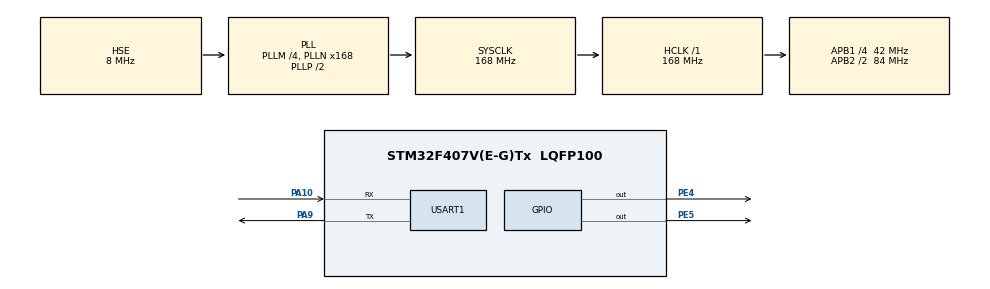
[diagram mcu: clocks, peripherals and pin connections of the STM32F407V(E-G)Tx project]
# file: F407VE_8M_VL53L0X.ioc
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Mcu.Family=STM32F4
Mcu.Name=STM32F407V(E-G)Tx
Mcu.Package=LQFP100
NVIC.PriorityGroup=NVIC_PRIORITYGROUP_4
NVIC.USART1_IRQn=true\:0\:0\:false\:false\:true\:true\:true
PA10.Mode=Asynchronous
PA10.Signal=USART1_RX
PA13.Mode=Serial_Wire
PA13.Signal=SYS_JTMS-SWDIO
PA14.Mode=Serial_Wire
PA14.Signal=SYS_JTCK-SWCLK
PA9.Mode=Asynchronous
PA9.Signal=USART1_TX
PC14-OSC32_IN.Mode=LSE-External-Oscillator
PC14-OSC32_IN.Signal=RCC_OSC32_IN
PC15-OSC32_OUT.Mode=LSE-External-Oscillator
PC15-OSC32_OUT.Signal=RCC_OSC32_OUT
PE4.GPIO_ModeDefaultOutputPP=GPIO_MODE_OUTPUT_PP
PE4.GPIO_PuPd=GPIO_PULLUP
PE4.GPIO_Speed=GPIO_SPEED_FREQ_VERY_HIGH
PE4.PinState=GPIO_PIN_SET
PE4.Signal=GPIO_Output
PE5.GPIO_ModeDefaultOutputPP=GPIO_MODE_OUTPUT_PP
PE5.GPIO_PuPd=GPIO_PULLUP
PE5.GPIO_Speed=GPIO_SPEED_FREQ_VERY_HIGH
PE5.PinState=GPIO_PIN_SET
PE5.Signal=GPIO_Output
PH0-OSC_IN.Mode=HSE-External-Oscillator
PH0-OSC_IN.Signal=RCC_OSC_IN
PH1-OSC_OUT.Mode=HSE-External-Oscillator
PH1-OSC_OUT.Signal=RCC_OSC_OUT
ProjectManager.HeapSize=0x200
ProjectManager.StackSize=0x400
ProjectManager.TargetToolchain=MDK-ARM V5.27
RCC.48MHZClocksFreq_Value=84000000
RCC.AHBFreq_Value=168000000
RCC.APB1CLKDivider=RCC_HCLK_DIV4
RCC.APB1Freq_Value=42000000
RCC.APB1TimFreq_Value=84000000
RCC.APB2CLKDivider=RCC_HCLK_DIV2
RCC.APB2Freq_Value=84000000
RCC.APB2TimFreq_Value=168000000
RCC.CortexFreq_Value=168000000
RCC.HCLKFreq_Value=168000000
RCC.HSE_VALUE=8000000
RCC.HSI_VALUE=16000000
RCC.PLLM=4
RCC.PLLN=168
RCC.PLLSourceVirtual=RCC_PLLSOURCE_HSE
RCC.SYSCLKFreq_VALUE=168000000
RCC.SYSCLKSource=RCC_SYSCLKSOURCE_PLLCLK
RCC.VCOOutputFreq_Value=336000000
USART1.VirtualMode=VM_ASYNC
board=custom

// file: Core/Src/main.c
/* USER CODE BEGIN Header */
/**
  ******************************************************************************
  * @file           : main.c
  * @brief          : Main program body
  ******************************************************************************
  * @attention
  *
  * <h2><center>&copy; Copyright (c) 2021 STMicroelectronics.
  * All rights reserved.</center></h2>
  *
  * This software component is licensed by ST under BSD 3-Clause license,
  * the "License"; You may not use this file except in compliance with the
  * License. You may obtain a copy of the License at:
  *                        opensource.org/licenses/BSD-3-Clause
  *
  ******************************************************************************
  */
/* USER CODE END Header */
#include "main.h"
#include "usart.h"
#include "gpio.h"

/* USER CODE BEGIN Includes */
#include "DELAY/delay.h"
#include "USART/myusart1.h"
#include "VL53L0X/myvl53L0x.h"
#include "UTIL/util.h"
/* USER CODE END Includes */

void SystemClock_Config(void);

int main(void)
{
  /* USER CODE BEGIN 1 */
  char str[32];
  int32_t val;
  /* USER CODE END 1 */

  /* MCU Configuration--------------------------------------------------------*/

  /* Reset of all peripherals, Initializes the Flash interface and the Systick. */
  HAL_Init();

  /* Configure the system clock */
  SystemClock_Config();

  /* Initialize all configured peripherals */
  MX_GPIO_Init();
  MX_USART1_UART_Init();
  /* USER CODE BEGIN 2 */
  Delay_Init(168);
  MyUSART1_Init(&huart1);
  Delay_ms(20);
  MyUSART1_WriteLine("booted");
  MyVL53L0X_Init(0x29);
  val=MyVL53L0X_SetSenseMode(VL53L0X_SENSE_DEFAULT);
  myitoa(val,str,10);
  MyUSART1_WriteLine(str);
  /* USER CODE END 2 */

  /* Infinite loop */
  while (1)
  {

    /* USER CODE BEGIN 3 */
    Delay_ms(100);
    val=MyVL53L0X_GetDistance();
    myitoa(val,str,10);
    MyUSART1_WriteLine(str);
  }
  /* USER CODE END 3 */
}

void SystemClock_Config(void)
{
  RCC_OscInitTypeDef RCC_OscInitStruct = {0};
  RCC_ClkInitTypeDef RCC_ClkInitStruct = {0};

  /** Configure the main internal regulator output voltage
  */
  __HAL_RCC_PWR_CLK_ENABLE();
  __HAL_PWR_VOLTAGESCALING_CONFIG(PWR_REGULATOR_VOLTAGE_SCALE1);
  /** Initializes the RCC Oscillators according to the specified parameters
  * in the RCC_OscInitTypeDef structure.
  */
  RCC_OscInitStruct.OscillatorType = RCC_OSCILLATORTYPE_HSE;
  RCC_OscInitStruct.HSEState = RCC_HSE_ON;
  RCC_OscInitStruct.PLL.PLLState = RCC_PLL_ON;
  RCC_OscInitStruct.PLL.PLLSource = RCC_PLLSOURCE_HSE;
  RCC_OscInitStruct.PLL.PLLM = 4;
  RCC_OscInitStruct.PLL.PLLN = 168;
  RCC_OscInitStruct.PLL.PLLP = RCC_PLLP_DIV2;
  RCC_OscInitStruct.PLL.PLLQ = 4;
  if (HAL_RCC_OscConfig(&RCC_OscInitStruct) != HAL_OK)
  {
    Error_Handler();
  }
  /** Initializes the CPU, AHB and APB buses clocks
  */
  RCC_ClkInitStruct.ClockType = RCC_CLOCKTYPE_HCLK|RCC_CLOCKTYPE_SYSCLK
                              |RCC_CLOCKTYPE_PCLK1|RCC_CLOCKTYPE_PCLK2;
  RCC_ClkInitStruct.SYSCLKSource = RCC_SYSCLKSOURCE_PLLCLK;
  RCC_ClkInitStruct.AHBCLKDivider = RCC_SYSCLK_DIV1;
  RCC_ClkInitStruct.APB1CLKDivider = RCC_HCLK_DIV4;
  RCC_ClkInitStruct.APB2CLKDivider = RCC_HCLK_DIV2;

  if (HAL_RCC_ClockConfig(&RCC_ClkInitStruct, FLASH_LATENCY_5) != HAL_OK)
  {
    Error_Handler();
  }
}

void Error_Handler(void)
{
  __disable_irq();
  while (1)
  {
  }
}

/************************ (C) COPYRIGHT STMicroelectronics *****END OF FILE****/
